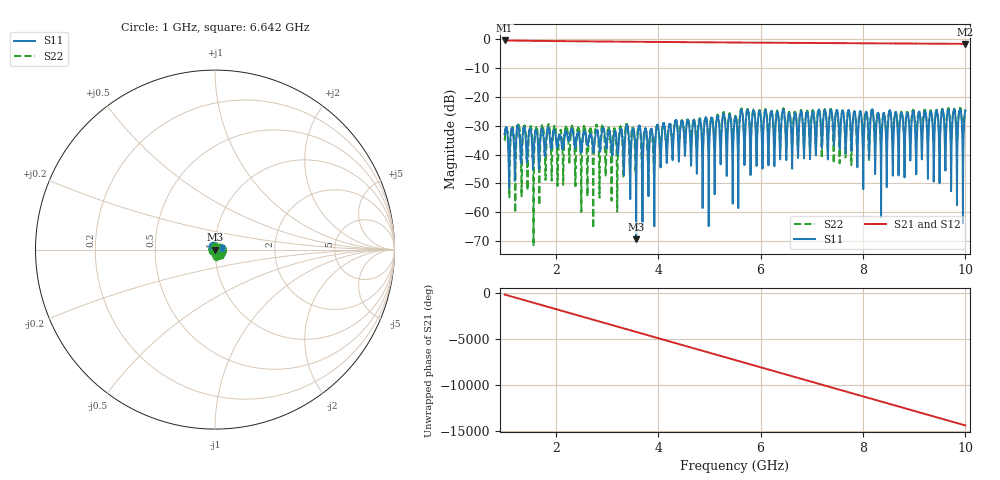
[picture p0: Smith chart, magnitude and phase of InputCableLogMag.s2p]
!Keysight Technologies,N5232B,MY63057082,A.15.71.11
!Date: Thursday, April 03, 2025 04:16:37
!Correction: S11(C  2-Port  )
!S21(C  2-Port  )
!S12(C  2-Port  )
!S22(C  2-Port  )
!S2P File: Measurements: S11, S21, S12, S22:
# Hz S  dB  R 50
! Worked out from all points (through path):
!   9001 points, 1 GHz to 10 GHz, reference 50 ohm
!   highest |S21| = -0.47 dB at 1 GHz (marker M1); lowest = -1.7 dB at 9.995 GHz (marker M2)
!   group delay of S21, straight-line fit = 4.4 ns
!   lowest |S11| = -69.3 dB at 3.569 GHz (marker M3), VSWR 1.00, Z = 50 + j0.0283 ohm
!   |S11| at or under -10 dB: start of sweep to end of sweep
!   |S22| runs from -71.7 to -23.8 dB; largest |S21 - S12| = 0.0029
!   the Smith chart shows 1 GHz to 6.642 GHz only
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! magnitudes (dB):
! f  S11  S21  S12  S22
! 1 GHz  -33.0  -0.5  -0.5  -35.2
! 1.086 GHz  -50.1  -0.5  -0.5  -45.4
! 1.506 GHz  -31.2  -0.6  -0.6  -30.3
! 1.566 GHz  -39.9  -0.6  -0.6  -57.5
! 1.738 GHz  -31.3  -0.6  -0.6  -29.7
! 2.043 GHz  -36.0  -0.7  -0.7  -42.7
! 2.321 GHz  -31.4  -0.8  -0.7  -30.1
! 2.5 GHz  -39.2  -0.8  -0.8  -53.1
! 2.557 GHz  -32.2  -0.8  -0.8  -30.0
! 2.616 GHz  -36.7  -0.8  -0.8  -51.3
! 2.913 GHz  -31.2  -0.8  -0.8  -29.8
! 3.199 GHz  -38.3  -0.9  -0.9  -59.7
! 3.391 GHz  -29.9  -0.9  -0.9  -30.0
! 3.569 GHz  -69.3  -0.9  -0.9  -41.1
! 3.63 GHz  -30.3  -0.9  -0.9  -30.2
! 3.697 GHz  -49.1  -1.0  -0.9  -40.0
! 4 GHz  -30.5  -1.0  -1.0  -31.2
! 5.5 GHz  -27.3  -1.2  -1.2  -27.0
! 7 GHz  -26.8  -1.3  -1.3  -26.0
! 8.5 GHz  -26.7  -1.5  -1.5  -26.0
! 9.995 GHz  -25.1  -1.7  -1.6  -24.9
! 10 GHz  -24.7  -1.7  -1.7  -24.5
